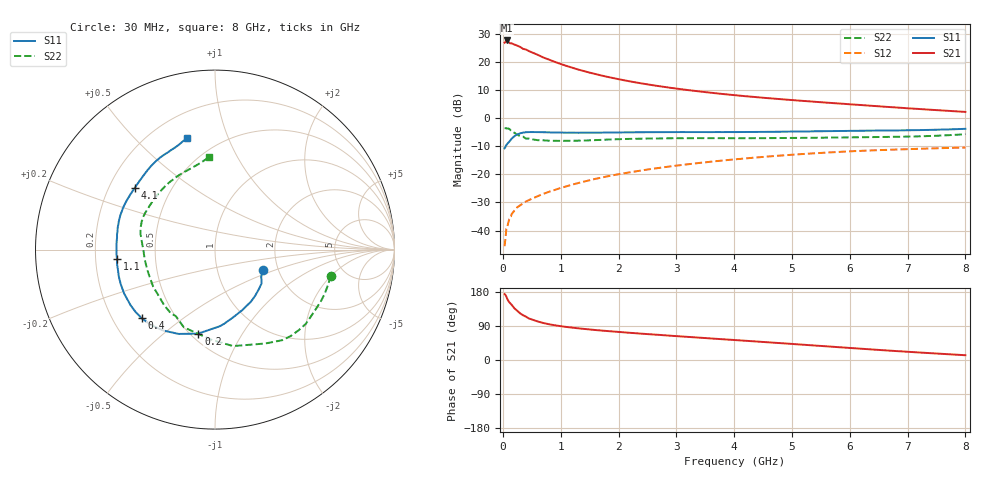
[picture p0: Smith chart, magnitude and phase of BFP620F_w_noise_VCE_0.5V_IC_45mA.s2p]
! Infineon Technologies  Discrete & RF Semiconductors
! BFP620F
! VCE =  0.5 V,  IC =  45 mA
! Common Emitter S-Parameters:  Dec 2014
# GHz  S  MA  R  50
!  f  S11  S21  S12  S22
! GHz  MAG  ANG  MAG  ANG  MAG  ANG  MAG  ANG
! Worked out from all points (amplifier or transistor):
!   95 points, 30 MHz to 8 GHz, reference 50 ohm
!   highest |S21| = 27.5 dB at 70 MHz (marker M1)
!   |S21| within 3 dB of that: start of sweep to 353 MHz
!   unconditionally stable (mu >= 1): start of sweep to 60.37 MHz; 1.35 GHz to end of sweep
!   at 300 MHz: K = 0.61, MSG = 28.1 dB, |S12| = -31.0 dB
!   at 3.3 GHz: K = 1.06, MAG = 11.5 dB, |S12| = -16.2 dB
!   at 8 GHz: K = 1.08, MAG = 4.6 dB, |S12| = -10.5 dB
!   lowest NFmin = 1.45 dB at 450 MHz
!   S11 on the Smith chart (normalised r, x): 30 MHz: 1.66, -0.42; 200 MHz: 0.55, -0.66; 400 MHz: 0.32, -0.36; 1.1 GHz: 0.29, -0.04; 4.1 GHz: 0.31, +0.31; 8 GHz: 0.34, +0.72
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0.03  0.2904 -23.6  21.66 174.0  0.0053 73.4  0.6615 -12.8
0.04  0.2987 -30.4  22.11 172.6  0.0066 76.3  0.6599 -17.5
0.05  0.3207 -35.9  23.5 170.5  0.0083 69.6  0.6587 -22.0
0.07  0.341 -49.1  23.85 163.4  0.011 72.1  0.6522 -30.3
0.08  0.3521 -55.2  23.56 159.9  0.0119 69.0  0.6513 -34.7
0.1  0.3702 -65.9  22.37 154.8  0.0146 69.3  0.6475 -44.0
0.12  0.3914 -75.2  21.34 150.9  0.0163 65.2  0.6285 -53.4
0.15  0.4275 -86.3  21.26 145.9  0.0195 61.5  0.5846 -63.9
0.2  0.4769 -101.2  20.15 136.3  0.0228 57.7  0.5469 -79.4
0.3  0.5351 -122.6  18.28 122.9  0.0282 54.8  0.4763 -102.4
0.35  0.5508 -130.2  16.91 118.0  0.0306 54.7  0.4667 -111.8
0.4  0.5595 -137.0  16.43 114.2  0.033 54.1  0.4302 -120.5
0.5  0.5633 -146.8  14.69 107.0  0.0369 54.9  0.4196 -132.5
0.7  0.5593 -160.0  11.89 97.6  0.045 56.6  0.4017 -149.1
1.1  0.5487 -174.5  8.424 87.2  0.0613 59.1  0.3939 -169.0
1.4  0.5493 178.7  6.83 82.1  0.0742 59.4  0.398 -178.6
2  0.5543 168.1  4.899 74.1  0.1005 58.0  0.4206 169.2
2.7  0.5612 158.8  3.683 66.3  0.1299 54.5  0.4341 161.5
4.1  0.5637 142.6  2.495 51.7  0.1878 45.0  0.4381 147.6
5.4  0.5815 130.1  1.941 38.1  0.2368 34.4  0.4467 131.1
6.7  0.6007 117.2  1.564 24.6  0.2734 23.0  0.4627 113.6
8  0.6429 104.2  1.284 12.6  0.2988 12.4  0.5149 93.7
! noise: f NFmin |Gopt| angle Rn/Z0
0.45  1.45  0.18  -172  0.16
0.9  1.48  0.18  -172  0.14
1.5  1.49  0.23  -153  0.1
1.8  1.5  0.23  -152  0.1
1.9  1.5  0.23  -151  0.11
2.4  1.52  0.24  213  0.12
3.5  1.58  0.24  220  0.15
5.5  1.72  0.29  248  0.19
6  1.76  0.29  261  0.24
